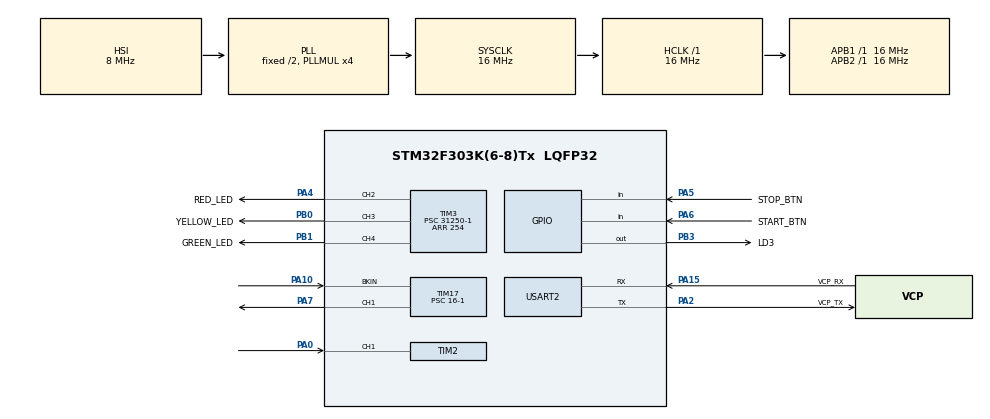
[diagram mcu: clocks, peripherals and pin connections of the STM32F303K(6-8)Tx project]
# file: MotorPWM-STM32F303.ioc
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Dma.Request0=USART2_TX
Dma.USART2_TX.0.Direction=DMA_MEMORY_TO_PERIPH
Dma.USART2_TX.0.Instance=DMA1_Channel7
Dma.USART2_TX.0.MemDataAlignment=DMA_MDATAALIGN_BYTE
Dma.USART2_TX.0.MemInc=DMA_MINC_ENABLE
Dma.USART2_TX.0.Mode=DMA_NORMAL
Dma.USART2_TX.0.PeriphDataAlignment=DMA_PDATAALIGN_BYTE
Dma.USART2_TX.0.PeriphInc=DMA_PINC_DISABLE
Dma.USART2_TX.0.Priority=DMA_PRIORITY_LOW
Mcu.Family=STM32F3
Mcu.Name=STM32F303K(6-8)Tx
Mcu.Package=LQFP32
Mcu.UserConstants=STATUS_LED_RED_CHANNEL,TIM_CHANNEL_2;RotationCounterTimer,$$_TIM15_IP_HANDLE_$$;StatusLedTimer,$$_TIM3_IP_HANDLE_$$;MotorTimer,$$_TIM17_IP_HANDLE_$$;MOTOR_CHANNEL,TIM_CHANNEL_1;STATUS_LED_GREEN_CHANNEL,TIM_CHANNEL_4;RotationCaptureTimer,$$_TIM2_IP_HANDLE_$$;STATUS_LED_YELLOW_CHANNEL,TIM_CHANNEL_3;ROTATION_CAPTURE_HALF_CHANNEL,TIM_CHANNEL_2;ROTATION_CAPTURE_TYPE,uint32_t;ROTATION_CAPTURE_FULL_CHANNEL,TIM_CHANNEL_1;ButtonTimer,$$_TIM6_IP_HANDLE_$$
NVIC.DMA1_Channel7_IRQn=true\:3\:0\:true\:false\:true\:false\:true\:true
NVIC.PriorityGroup=NVIC_PRIORITYGROUP_2
NVIC.TIM1_TRG_COM_TIM17_IRQn=true\:0\:0\:false\:false\:true\:true\:true\:true
NVIC.TIM6_DAC1_IRQn=true\:3\:1\:true\:false\:true\:true\:true\:true
NVIC.USART2_IRQn=true\:3\:0\:true\:false\:true\:true\:true\:true
PA0.Signal=S_TIM2_CH1_ETR
PA10.GPIO_PuPd=GPIO_PULLUP
PA10.Mode=Activate-Break-Input
PA10.Signal=TIM17_BKIN
PA13.GPIO_Label=SWDIO
PA13.Mode=Serial_Wire
PA13.Signal=SYS_JTMS-SWDIO
PA14.GPIO_Label=SWCLK
PA14.Mode=Serial_Wire
PA14.Signal=SYS_JTCK-SWCLK
PA15.GPIO_Label=VCP_RX
PA15.Mode=Asynchronous
PA15.Signal=USART2_RX
PA2.GPIO_Label=VCP_TX
PA2.Mode=Asynchronous
PA2.Signal=USART2_TX
PA4.GPIO_Label=RED_LED
PA4.Signal=S_TIM3_CH2
PA5.GPIO_Label=STOP_BTN
PA5.GPIO_PuPd=GPIO_PULLUP
PA5.Signal=GPIO_Input
PA6.GPIO_Label=START_BTN
PA6.GPIO_PuPd=GPIO_PULLUP
PA6.Signal=GPIO_Input
PA7.Signal=S_TIM17_CH1
PB0.GPIO_Label=YELLOW_LED
PB0.GPIO_ModeDefaultPP=GPIO_MODE_AF_OD
PB0.Signal=S_TIM3_CH3
PB1.GPIO_Label=GREEN_LED
PB1.GPIO_ModeDefaultPP=GPIO_MODE_AF_OD
PB1.Signal=S_TIM3_CH4
PB3.GPIO_Label=LD3
PB3.Signal=GPIO_Output
PF0\ /\ OSC_IN.GPIO_Label=MCO
PF0\ /\ OSC_IN.Signal=RCC_OSC_IN
ProjectManager.HeapSize=0x400
ProjectManager.StackSize=0x400
ProjectManager.TargetToolchain=STM32CubeIDE
RCC.AHBFreq_Value=16000000
RCC.APB1Freq_Value=16000000
RCC.APB1TimFreq_Value=16000000
RCC.APB2Freq_Value=16000000
RCC.APB2TimFreq_Value=16000000
RCC.CortexFreq_Value=16000000
RCC.HCLKFreq_Value=16000000
RCC.HSE_VALUE=8000000
RCC.HSI_VALUE=8000000
RCC.PLLMUL=RCC_PLL_MUL4
RCC.SYSCLKFreq_VALUE=16000000
RCC.SYSCLKSourceVirtual=RCC_SYSCLKSOURCE_PLLCLK
SH.S_TIM17_CH1.0=TIM17_CH1,PWM Generation1 CH1
SH.S_TIM2_CH1_ETR.0=TIM2_CH1,TriggerSource_TI1FP1
SH.S_TIM2_CH1_ETR.1=TIM2_CH1,Input_Capture1_from_TI1
SH.S_TIM3_CH2.0=TIM3_CH2,PWM Generation2 CH2
SH.S_TIM3_CH3.0=TIM3_CH3,PWM Generation3 CH3
SH.S_TIM3_CH4.0=TIM3_CH4,PWM Generation4 CH4
TIM17.BreakFilter=15
TIM17.Channel=TIM_CHANNEL_1
TIM17.OCIdleState_1=TIM_OCIDLESTATE_SET
TIM17.OCPolarity_1=TIM_OCPOLARITY_LOW
TIM17.OffStateIDLEMode=TIM_OSSI_ENABLE
TIM17.Period=20000-1
TIM17.Prescaler=16-1
TIM2.AutoReloadPreload=TIM_AUTORELOAD_PRELOAD_ENABLE
TIM2.Channel-Input_Capture1_from_TI1=TIM_CHANNEL_1
TIM2.Channel-Input_Capture2_from_TI1_63=TIM_CHANNEL_2
TIM2.ICPolarity_CH2=TIM_INPUTCHANNELPOLARITY_FALLING
TIM2.Prescaler=16-1
TIM3.Channel-PWM\ Generation2\ CH2=TIM_CHANNEL_2
TIM3.Channel-PWM\ Generation3\ CH3=TIM_CHANNEL_3
TIM3.Channel-PWM\ Generation4\ CH4=TIM_CHANNEL_4
TIM3.OCPolarity_2=TIM_OCPOLARITY_LOW
TIM3.OCPolarity_3=TIM_OCPOLARITY_LOW
TIM3.OCPolarity_4=TIM_OCPOLARITY_LOW
TIM3.Period=254
TIM3.Prescaler=31250-1
TIM6.Period=25-1
TIM6.Prescaler=1600-1
USART2.VirtualMode-Asynchronous=VM_ASYNC
VP_TIM15_VS_ClockSourceITR.Mode=TriggerSource_ITR0
VP_TIM15_VS_ControllerModeClock.Mode=Clock Mode
VP_TIM17_VS_ClockSourceINT.Mode=Enable_Timer
VP_TIM2_VS_ClockSourceINT.Mode=Internal
VP_TIM2_VS_ControllerModeReset.Mode=Reset Mode
VP_TIM2_VS_indirect_ch1.Mode=Input_Capture2_from_TI1_63
VP_TIM3_VS_ClockSourceINT.Mode=Internal
VP_TIM6_VS_ClockSourceINT.Mode=Enable_Timer
board=NUCLEO-F303K8

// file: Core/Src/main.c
/* USER CODE BEGIN Header */
/**
  ******************************************************************************
  * @file           : main.c
  * @brief          : Main program body
  ******************************************************************************
  * @attention
  *
  * Copyright (c) 2023 Joris Dobbelsteen.
  * All rights reserved.
  *
  ******************************************************************************
  */
/* USER CODE END Header */
#include "main.h"

/* USER CODE BEGIN Includes */
#include <stdio.h>
#include "button.h"
#include "status_led.h"
#include "motor_control.h"
#include "rotation_sensor.h"
#include "PID.h"
/* USER CODE END Includes */

/* USER CODE BEGIN PTD */
typedef enum state_t {
  /* Note: FATAL_ERROR is handled by program counter, stuck in ErrorHandler() */
  /* STATE               PWM        LED               NEXT_STATE                             */
  STATE_ERROR,        // off        ERROR             btn_stop                  -> STOPPED
  STATE_INIT,         // off        INIT              both_button && powercycle -> CALIBRATE
                      //                              else                      -> STOPPED
  STATE_CALIBRATION,  // on (max)   TROTTLE_CALIB     !both_button              -> STOPPED
                      //                              break                     -> ERROR
  STATE_STOP,         // on (min)   STOPPING /        start_pressed             -> START
                      //            STOPPED           break                     -> ERROR
  STATE_START         // on (PID)   STARTING /        stop_pressed              -> STOP
                      //            STARTED           out_of_limits             -> ERROR
                      //                              break                     -> ERROR
} state_t;
/* USER CODE END PTD */

/* USER CODE BEGIN PD */
#define PULSES_PER_ROTATION 12
#define ROTATIONS_PER_SEC 15
#define RAMP_PULSE_PER_SEC (PULSES_PER_ROTATION * 1 / 4)
#define OVERSPEED_PULSES_PER_SEC (10 * PULSES_PER_ROTATION)
#define UNDERSPEED_PULSES_PER_SEC (10 * PULSES_PER_ROTATION)
#define STABLE_PULSES_PER_SEC (PULSES_PER_ROTATION / 2)
#define PID_PRESCALER 4

/* USER CODE END PD */

TIM_HandleTypeDef htim2;
TIM_HandleTypeDef htim3;
TIM_HandleTypeDef htim6;
TIM_HandleTypeDef htim15;
TIM_HandleTypeDef htim17;

UART_HandleTypeDef huart2;
DMA_HandleTypeDef hdma_usart2_tx;

/* USER CODE BEGIN PV */
static state_t global_state;
static int init_allow_calibration;
static uint32_t init_enter_tick;
static PIDController control_pid;
static volatile unsigned int control_pid_tick_counter;
static unsigned int control_pid_last_tick_counter;
static volatile int control_setpoint_millipulsesec;
static volatile int control_error;
static volatile int control_stable;
static int control_last_pulse_count;
static int control_setpoint_internal_millipulsesec;
static int control_prescaler_pid;
static int start_stop_stable;
/* USER CODE END PV */

void SystemClock_Config(void);
static void MX_GPIO_Init(void);
static void MX_DMA_Init(void);
static void MX_TIM17_Init(void);
static void MX_USART2_UART_Init(void);
static void MX_TIM2_Init(void);
static void MX_TIM3_Init(void);
static void MX_TIM15_Init(void);
static void MX_TIM6_Init(void);

/* USER CODE BEGIN 0 */

static void PID_init(void) {
  control_pid.Kp = 0.060f;
  control_pid.Ki = 0.006f;
  control_pid.Kd = 0.003f;
  control_pid.tau = 0.4f;              // derivative filter time constant
  control_pid.limMin = 0.0f;
  control_pid.limMax = 0.4f;           // cap of output power
  control_pid.limMinInt = -0.1f;
  control_pid.limMaxInt = 0.4f;
  control_pid.T = 0.02f * PID_PRESCALER;

  PIDController_Init(&control_pid);

  control_error = 0;
  control_stable = 0;
  control_setpoint_millipulsesec = 0;
  control_setpoint_internal_millipulsesec = 0;
}

static void PID_tick(void) {
  control_pid_tick_counter++;

  // Load from volatile value
  int final_setpoint = control_setpoint_millipulsesec;

  // Slowly ramp to final setpoint
  int setpoint_e = final_setpoint - control_setpoint_internal_millipulsesec;
  int increment = RAMP_PULSE_PER_SEC * 1000 * control_pid.T;
  int decrement = -5 * RAMP_PULSE_PER_SEC * 1000 * control_pid.T;
  if (setpoint_e > increment)
    setpoint_e = increment;
  else if (setpoint_e < decrement)
    setpoint_e = decrement;
  control_setpoint_internal_millipulsesec += setpoint_e;

  // Acquire current speed
  int millipulses_per_sec = rotation_sensor_get_millipulses_per_sec();
  // Derive from measured ticks
  //
  // Unless the PULSES_PER_ROTATION or measurement period is large enough, this is rather inaccurate...
  // For PULSES_PER_ROTATION 12:
  //   15 rpm -> 180 ticks / sec = 3.6 ticks / 20 ms     -> 3 ~ 4 ticks gives 12.5 ~ 16.6 rpm
  //                             = 14,4 ticks / 80 ms   -> 14 ~ 15 ticks gives 14.6 ~ 16.6 rpm
  // To calculate
  //   1 tick / t ms / x ticks/rotation = 0.1 rps ->
  //   1 / t / 0.1 = x                            -> x = 10 / t
  //   * 20 ms --> 500 ticks / rotation
  //   * 80 ms --> 125 ticks / rotation
//  uint_rotation_t pc = rotation_sensor_get_counter();
//  uint_rotation_t delta_pulse = pc - control_last_pulse_count;
//  control_last_pulse_count = pc;
//  int millipulses_per_sec_c = 1000 * pc / control_pid.T;

  // Safety/Sanity check
  if (millipulses_per_sec > control_setpoint_internal_millipulsesec + OVERSPEED_PULSES_PER_SEC * 1000
      || millipulses_per_sec + UNDERSPEED_PULSES_PER_SEC * 1000 < control_setpoint_internal_millipulsesec) {
    control_error = 1;
    motor_control_set_pulse(MOTOR_PWM_MIN);
    return;
  }

  // PID loop
  float out = PIDController_Update(&control_pid,
                                   control_setpoint_internal_millipulsesec / (1000.0f * PULSES_PER_ROTATION),
                                   millipulses_per_sec / (1000.0f * PULSES_PER_ROTATION));

  // Set output
  motor_control_set_pulse(MOTOR_PWM_MIN + (int)(out * (MOTOR_PWM_MAX - MOTOR_PWM_MIN)));

  // Determine if loop is stable
  int final_error = millipulses_per_sec - final_setpoint;
  control_stable = final_error > -STABLE_PULSES_PER_SEC * 1000
          && final_error < STABLE_PULSES_PER_SEC * 1000;
}

static void PID_print_stats(void) {
  unsigned int c = control_pid_tick_counter;
  if (c == control_pid_last_tick_counter)
    return;
  control_pid_last_tick_counter = c;

  printf("%03d  m %2.3f e %2.3f o %1.4f   i %1.4f d %1.4f\n",
         c % 1000,
         control_pid.prevMeasurement,
         control_pid.prevError,
         control_pid.out,
         control_pid.integrator,
         control_pid.differentiator);
}

static void enter_state(state_t state) {
  switch (state) {
    case STATE_ERROR:
      status_led_set(STATUS_LED_MODE_ERROR);
      puts("ERROR");
      motor_control_stop();
      break;
    case STATE_INIT:
      status_led_set(STATUS_LED_MODE_INIT);
      puts("INIT");
      init_enter_tick = HAL_GetTick();
      break;
    case STATE_CALIBRATION:
      status_led_set(STATUS_LED_MODE_THROTTLE_CALIB);
      puts("CALIBRATE");
      motor_control_start(MOTOR_PWM_MAX); // Set to maximum speed
      break;
    case STATE_STOP:
      status_led_set(STATUS_LED_MODE_STOPPING);
      puts("STOP");
      start_stop_stable = 0;
      motor_control_start(MOTOR_PWM_MIN); // Set to minimum speed
      break;
    case STATE_START:
      status_led_set(STATUS_LED_MODE_STARTING);
      puts("START");
      start_stop_stable = 0;
      PID_init();
      control_setpoint_millipulsesec = ROTATIONS_PER_SEC * PULSES_PER_ROTATION * 1000;
      control_last_pulse_count = rotation_sensor_get_counter();
      motor_control_start_update_interrupt();
      break;
    // NOTE: Rely on compiler to give warning when this is incomplete
  }
}

static void exit_state(state_t state) {
  switch (state) {
    case STATE_ERROR:
      rotation_sensor_reset();
      break;
    case STATE_INIT:
      init_allow_calibration = 0;
      buttons_reset(); // ignore any pending presses
      break;
    case STATE_CALIBRATION:
      motor_control_set_pulse(MOTOR_PWM_MIN);
      buttons_reset(); // ignore any pending presses
      break;
    case STATE_STOP:
      break;
    case STATE_START:
      motor_control_stop_update_interrupt();
      break;
    // Rely on compiler to give warning when this is incomplete
  }
}

static void set_state(state_t next_state) {
  state_t previous_state = global_state;
  if (next_state != previous_state) {
    // Exit state is not aware which exit is performed
    exit_state(previous_state);
    // In enter_state, we can use "global_state" to get the next state
    enter_state(next_state);
    global_state = next_state;
  }
}

void buttons_start_pressed(void) {
  switch (global_state) {
    case STATE_STOP:
      set_state(STATE_START);
      break;
    default:
      break;
  }
}

void buttons_stop_pressed(void) {
  switch (global_state) {
    case STATE_ERROR:
      set_state(STATE_STOP);
      break;
    case STATE_START:
      set_state(STATE_STOP);
      break;
    default:
      break;
  }
}

void HAL_TIM_PeriodElapsedCallback(TIM_HandleTypeDef *htim)
{
  if (htim == &MotorTimer) {
    if (global_state == STATE_START) { // sanity check if we really should run the PWM
      if (control_error != 0) {
        motor_control_set_pulse(MOTOR_PWM_MIN);
        control_error++;
      } else {
        if (++control_prescaler_pid >= PID_PRESCALER) {
          PID_tick();
        }
      }
    } else {
      Error_Handler();
    }
  } /*else if (htim == &ButtonTimer) {
    IT_buttons_check();
  } */
}

void HAL_TIMEx_BreakCallback(TIM_HandleTypeDef *htim) {
  if (htim == &MotorTimer) {
    IT_motor_control_break();
  }
}

static void loop(void) {
  // Check motor state...
  if (motor_control_get_state() == MOTOR_CONTROL_BREAK) {
    puts("Motor BREAK detected");
    set_state(STATE_ERROR);
  }

  buttons_check();

  switch (global_state) {
    case STATE_INIT:
      // Ticks are in milliseconds
      if (HAL_GetTick() - init_enter_tick > 2000) {
        set_state(STATE_STOP);
      } else if (init_allow_calibration && buttons_both_pressed()) {
        set_state(STATE_CALIBRATION);
      }
      break;
    case STATE_CALIBRATION:
      if (!buttons_both_pressed()) {
        set_state(STATE_STOP);
      }
      break;
    case STATE_STOP: {
      const int stable = rotation_sensor_get_millipulses_per_sec() <= 333; // no pulse for 3 seconds
      if (stable != start_stop_stable) {
        status_led_set(stable ? STATUS_LED_MODE_STOPPED : STATUS_LED_MODE_STOPPING);
        start_stop_stable = stable;
      }
    } break;
    case STATE_START: {
      const int stable = control_stable;
      if (control_error > 5) { // give several pulses to allow setting PWM to minimum
        puts("Control ERROR detected");
        set_state(STATE_ERROR);
      } else  if (stable != start_stop_stable) {
        status_led_set(stable ? STATUS_LED_MODE_STARTED : STATUS_LED_MODE_STARTING);
        start_stop_stable = stable;
      }
      PID_print_stats();
    } break;
    default:
      break;
  }
}

/* USER CODE END 0 */

int main(void)
{

  /* MCU Configuration--------------------------------------------------------*/

  /* Reset of all peripherals, Initializes the Flash interface and the Systick. */
  HAL_Init();

  /* USER CODE BEGIN Init */

  HAL_SetTickFreq(HAL_TICK_FREQ_100HZ);

  /* USER CODE END Init */

  /* Configure the system clock */
  SystemClock_Config();

  /* USER CODE BEGIN SysInit */

  init_allow_calibration =
    !__HAL_RCC_GET_FLAG(RCC_FLAG_OBLRST) && // Option Byte Load reset
    // normal start has PIN reset !__HAL_RCC_GET_FLAG(RCC_FLAG_PINRST) && // Pin reset
    !__HAL_RCC_GET_FLAG(RCC_FLAG_PORRST) && // POR/PDR reset.
    !__HAL_RCC_GET_FLAG(RCC_FLAG_SFTRST) &&  // Software reset.
    !__HAL_RCC_GET_FLAG(RCC_FLAG_IWDGRST) && // Independent Watchdog reset.
    !__HAL_RCC_GET_FLAG(RCC_FLAG_WWDGRST) && // Window Watchdog reset.
    !__HAL_RCC_GET_FLAG(RCC_FLAG_LPWRRST); // Low Power Reset
  __HAL_RCC_CLEAR_RESET_FLAGS();

  /* USER CODE END SysInit */

  /* Initialize all configured peripherals */
  MX_GPIO_Init();
  MX_DMA_Init();
  MX_TIM17_Init();
  MX_USART2_UART_Init();
  MX_TIM2_Init();
  MX_TIM3_Init();
  MX_TIM15_Init();
  MX_TIM6_Init();
  /* USER CODE BEGIN 2 */

  PID_init();

  buttons_init();
  status_led_init();
  motor_control_init();
  rotation_sensor_init();

  /* USER CODE END 2 */

  /* Infinite loop */
  /* USER CODE BEGIN WHILE */

  global_state = STATE_INIT;
  enter_state(global_state);

  while (1)
  {
    loop();
    /* USER CODE END WHILE */

    /* USER CODE BEGIN 3 */

    HAL_GPIO_TogglePin(LD3_GPIO_Port, LD3_Pin);
    __WFE();
  }
  /* USER CODE END 3 */
}

void SystemClock_Config(void)
{
  RCC_OscInitTypeDef RCC_OscInitStruct = {0};
  RCC_ClkInitTypeDef RCC_ClkInitStruct = {0};

  /** Initializes the RCC Oscillators according to the specified parameters
  * in the RCC_OscInitTypeDef structure.
  */
  RCC_OscInitStruct.OscillatorType = RCC_OSCILLATORTYPE_HSI;
  RCC_OscInitStruct.HSIState = RCC_HSI_ON;
  RCC_OscInitStruct.HSICalibrationValue = RCC_HSICALIBRATION_DEFAULT;
  RCC_OscInitStruct.PLL.PLLState = RCC_PLL_ON;
  RCC_OscInitStruct.PLL.PLLSource = RCC_PLLSOURCE_HSI;
  RCC_OscInitStruct.PLL.PLLMUL = RCC_PLL_MUL4;
  if (HAL_RCC_OscConfig(&RCC_OscInitStruct) != HAL_OK)
  {
    Error_Handler();
  }

  /** Initializes the CPU, AHB and APB buses clocks
  */
  RCC_ClkInitStruct.ClockType = RCC_CLOCKTYPE_HCLK|RCC_CLOCKTYPE_SYSCLK
                              |RCC_CLOCKTYPE_PCLK1|RCC_CLOCKTYPE_PCLK2;
  RCC_ClkInitStruct.SYSCLKSource = RCC_SYSCLKSOURCE_PLLCLK;
  RCC_ClkInitStruct.AHBCLKDivider = RCC_SYSCLK_DIV1;
  RCC_ClkInitStruct.APB1CLKDivider = RCC_HCLK_DIV1;
  RCC_ClkInitStruct.APB2CLKDivider = RCC_HCLK_DIV1;

  if (HAL_RCC_ClockConfig(&RCC_ClkInitStruct, FLASH_LATENCY_0) != HAL_OK)
  {
    Error_Handler();
  }
}

static void MX_TIM2_Init(void)
{

  TIM_ClockConfigTypeDef sClockSourceConfig = {0};
  TIM_SlaveConfigTypeDef sSlaveConfig = {0};
  TIM_MasterConfigTypeDef sMasterConfig = {0};
  TIM_IC_InitTypeDef sConfigIC = {0};

  htim2.Instance = TIM2;
  htim2.Init.Prescaler = 16-1;
  htim2.Init.CounterMode = TIM_COUNTERMODE_UP;
  htim2.Init.Period = 4294967295;
  htim2.Init.ClockDivision = TIM_CLOCKDIVISION_DIV1;
  htim2.Init.AutoReloadPreload = TIM_AUTORELOAD_PRELOAD_ENABLE;
  if (HAL_TIM_Base_Init(&htim2) != HAL_OK)
  {
    Error_Handler();
  }
  sClockSourceConfig.ClockSource = TIM_CLOCKSOURCE_INTERNAL;
  if (HAL_TIM_ConfigClockSource(&htim2, &sClockSourceConfig) != HAL_OK)
  {
    Error_Handler();
  }
  if (HAL_TIM_IC_Init(&htim2) != HAL_OK)
  {
    Error_Handler();
  }
  sSlaveConfig.SlaveMode = TIM_SLAVEMODE_RESET;
  sSlaveConfig.InputTrigger = TIM_TS_TI1FP1;
  sSlaveConfig.TriggerPolarity = TIM_INPUTCHANNELPOLARITY_RISING;
  sSlaveConfig.TriggerFilter = 0;
  if (HAL_TIM_SlaveConfigSynchro(&htim2, &sSlaveConfig) != HAL_OK)
  {
    Error_Handler();
  }
  sMasterConfig.MasterOutputTrigger = TIM_TRGO_RESET;
  sMasterConfig.MasterSlaveMode = TIM_MASTERSLAVEMODE_DISABLE;
  if (HAL_TIMEx_MasterConfigSynchronization(&htim2, &sMasterConfig) != HAL_OK)
  {
    Error_Handler();
  }
  sConfigIC.ICPolarity = TIM_INPUTCHANNELPOLARITY_RISING;
  sConfigIC.ICSelection = TIM_ICSELECTION_DIRECTTI;
  sConfigIC.ICPrescaler = TIM_ICPSC_DIV1;
  sConfigIC.ICFilter = 0;
  if (HAL_TIM_IC_ConfigChannel(&htim2, &sConfigIC, TIM_CHANNEL_1) != HAL_OK)
  {
    Error_Handler();
  }
  sConfigIC.ICPolarity = TIM_INPUTCHANNELPOLARITY_FALLING;
  sConfigIC.ICSelection = TIM_ICSELECTION_INDIRECTTI;
  if (HAL_TIM_IC_ConfigChannel(&htim2, &sConfigIC, TIM_CHANNEL_2) != HAL_OK)
  {
    Error_Handler();
  }

}

static void MX_TIM3_Init(void)
{

  TIM_ClockConfigTypeDef sClockSourceConfig = {0};
  TIM_MasterConfigTypeDef sMasterConfig = {0};
  TIM_OC_InitTypeDef sConfigOC = {0};

  htim3.Instance = TIM3;
  htim3.Init.Prescaler = 31250-1;
  htim3.Init.CounterMode = TIM_COUNTERMODE_UP;
  htim3.Init.Period = 254;
  htim3.Init.ClockDivision = TIM_CLOCKDIVISION_DIV1;
  htim3.Init.AutoReloadPreload = TIM_AUTORELOAD_PRELOAD_DISABLE;
  if (HAL_TIM_Base_Init(&htim3) != HAL_OK)
  {
    Error_Handler();
  }
  sClockSourceConfig.ClockSource = TIM_CLOCKSOURCE_INTERNAL;
  if (HAL_TIM_ConfigClockSource(&htim3, &sClockSourceConfig) != HAL_OK)
  {
    Error_Handler();
  }
  if (HAL_TIM_PWM_Init(&htim3) != HAL_OK)
  {
    Error_Handler();
  }
  sMasterConfig.MasterOutputTrigger = TIM_TRGO_RESET;
  sMasterConfig.MasterSlaveMode = TIM_MASTERSLAVEMODE_DISABLE;
  if (HAL_TIMEx_MasterConfigSynchronization(&htim3, &sMasterConfig) != HAL_OK)
  {
    Error_Handler();
  }
  sConfigOC.OCMode = TIM_OCMODE_PWM1;
  sConfigOC.Pulse = 0;
  sConfigOC.OCPolarity = TIM_OCPOLARITY_LOW;
  sConfigOC.OCFastMode = TIM_OCFAST_DISABLE;
  if (HAL_TIM_PWM_ConfigChannel(&htim3, &sConfigOC, TIM_CHANNEL_2) != HAL_OK)
  {
    Error_Handler();
  }
  if (HAL_TIM_PWM_ConfigChannel(&htim3, &sConfigOC, TIM_CHANNEL_3) != HAL_OK)
  {
    Error_Handler();
  }
  if (HAL_TIM_PWM_ConfigChannel(&htim3, &sConfigOC, TIM_CHANNEL_4) != HAL_OK)
  {
    Error_Handler();
  }
  HAL_TIM_MspPostInit(&htim3);

}

static void MX_TIM6_Init(void)
{

  TIM_MasterConfigTypeDef sMasterConfig = {0};

  htim6.Instance = TIM6;
  htim6.Init.Prescaler = 1600-1;
  htim6.Init.CounterMode = TIM_COUNTERMODE_UP;
  htim6.Init.Period = 25-1;
  htim6.Init.AutoReloadPreload = TIM_AUTORELOAD_PRELOAD_DISABLE;
  if (HAL_TIM_Base_Init(&htim6) != HAL_OK)
  {
    Error_Handler();
  }
  sMasterConfig.MasterOutputTrigger = TIM_TRGO_RESET;
  sMasterConfig.MasterSlaveMode = TIM_MASTERSLAVEMODE_DISABLE;
  if (HAL_TIMEx_MasterConfigSynchronization(&htim6, &sMasterConfig) != HAL_OK)
  {
    Error_Handler();
  }

}

static void MX_TIM15_Init(void)
{

  TIM_SlaveConfigTypeDef sSlaveConfig = {0};
  TIM_MasterConfigTypeDef sMasterConfig = {0};

  htim15.Instance = TIM15;
  htim15.Init.Prescaler = 0;
  htim15.Init.CounterMode = TIM_COUNTERMODE_UP;
  htim15.Init.Period = 65535;
  htim15.Init.ClockDivision = TIM_CLOCKDIVISION_DIV1;
  htim15.Init.RepetitionCounter = 0;
  htim15.Init.AutoReloadPreload = TIM_AUTORELOAD_PRELOAD_DISABLE;
  if (HAL_TIM_Base_Init(&htim15) != HAL_OK)
  {
    Error_Handler();
  }
  sSlaveConfig.SlaveMode = TIM_SLAVEMODE_EXTERNAL1;
  sSlaveConfig.InputTrigger = TIM_TS_ITR0;
  if (HAL_TIM_SlaveConfigSynchro(&htim15, &sSlaveConfig) != HAL_OK)
  {
    Error_Handler();
  }
  sMasterConfig.MasterOutputTrigger = TIM_TRGO_RESET;
  sMasterConfig.MasterSlaveMode = TIM_MASTERSLAVEMODE_DISABLE;
  if (HAL_TIMEx_MasterConfigSynchronization(&htim15, &sMasterConfig) != HAL_OK)
  {
    Error_Handler();
  }

}

static void MX_TIM17_Init(void)
{

  TIM_OC_InitTypeDef sConfigOC = {0};
  TIM_BreakDeadTimeConfigTypeDef sBreakDeadTimeConfig = {0};

  htim17.Instance = TIM17;
  htim17.Init.Prescaler = 16-1;
  htim17.Init.CounterMode = TIM_COUNTERMODE_UP;
  htim17.Init.Period = 20000-1;
  htim17.Init.ClockDivision = TIM_CLOCKDIVISION_DIV1;
  htim17.Init.RepetitionCounter = 0;
  htim17.Init.AutoReloadPreload = TIM_AUTORELOAD_PRELOAD_DISABLE;
  if (HAL_TIM_Base_Init(&htim17) != HAL_OK)
  {
    Error_Handler();
  }
  if (HAL_TIM_PWM_Init(&htim17) != HAL_OK)
  {
    Error_Handler();
  }
  sConfigOC.OCMode = TIM_OCMODE_PWM1;
  sConfigOC.Pulse = 0;
  sConfigOC.OCPolarity = TIM_OCPOLARITY_LOW;
  sConfigOC.OCNPolarity = TIM_OCNPOLARITY_HIGH;
  sConfigOC.OCFastMode = TIM_OCFAST_DISABLE;
  sConfigOC.OCIdleState = TIM_OCIDLESTATE_SET;
  sConfigOC.OCNIdleState = TIM_OCNIDLESTATE_RESET;
  if (HAL_TIM_PWM_ConfigChannel(&htim17, &sConfigOC, TIM_CHANNEL_1) != HAL_OK)
  {
    Error_Handler();
  }
  sBreakDeadTimeConfig.OffStateRunMode = TIM_OSSR_DISABLE;
  sBreakDeadTimeConfig.OffStateIDLEMode = TIM_OSSI_ENABLE;
  sBreakDeadTimeConfig.LockLevel = TIM_LOCKLEVEL_OFF;
  sBreakDeadTimeConfig.DeadTime = 0;
  sBreakDeadTimeConfig.BreakState = TIM_BREAK_ENABLE;
  sBreakDeadTimeConfig.BreakPolarity = TIM_BREAKPOLARITY_HIGH;
  sBreakDeadTimeConfig.BreakFilter = 15;
  sBreakDeadTimeConfig.AutomaticOutput = TIM_AUTOMATICOUTPUT_DISABLE;
  if (HAL_TIMEx_ConfigBreakDeadTime(&htim17, &sBreakDeadTimeConfig) != HAL_OK)
  {
    Error_Handler();
  }
  HAL_TIM_MspPostInit(&htim17);

}

static void MX_USART2_UART_Init(void)
{

  huart2.Instance = USART2;
  huart2.Init.BaudRate = 38400;
  huart2.Init.WordLength = UART_WORDLENGTH_8B;
  huart2.Init.StopBits = UART_STOPBITS_1;
  huart2.Init.Parity = UART_PARITY_NONE;
  huart2.Init.Mode = UART_MODE_TX_RX;
  huart2.Init.HwFlowCtl = UART_HWCONTROL_NONE;
  huart2.Init.OverSampling = UART_OVERSAMPLING_16;
  huart2.Init.OneBitSampling = UART_ONE_BIT_SAMPLE_DISABLE;
  huart2.AdvancedInit.AdvFeatureInit = UART_ADVFEATURE_NO_INIT;
  if (HAL_UART_Init(&huart2) != HAL_OK)
  {
    Error_Handler();
  }

}

static void MX_DMA_Init(void)
{

  /* DMA controller clock enable */
  __HAL_RCC_DMA1_CLK_ENABLE();

  /* DMA interrupt init */
  /* DMA1_Channel7_IRQn interrupt configuration */
  HAL_NVIC_SetPriority(DMA1_Channel7_IRQn, 3, 0);
  HAL_NVIC_EnableIRQ(DMA1_Channel7_IRQn);

}

static void MX_GPIO_Init(void)
{
  GPIO_InitTypeDef GPIO_InitStruct = {0};

  /* GPIO Ports Clock Enable */
  __HAL_RCC_GPIOF_CLK_ENABLE();
  __HAL_RCC_GPIOA_CLK_ENABLE();
  __HAL_RCC_GPIOB_CLK_ENABLE();

  /*Configure GPIO pin Output Level */
  HAL_GPIO_WritePin(LD3_GPIO_Port, LD3_Pin, GPIO_PIN_RESET);

  /*Configure GPIO pins : STOP_BTN_Pin START_BTN_Pin */
  GPIO_InitStruct.Pin = STOP_BTN_Pin|START_BTN_Pin;
  GPIO_InitStruct.Mode = GPIO_MODE_INPUT;
  GPIO_InitStruct.Pull = GPIO_PULLUP;
  HAL_GPIO_Init(GPIOA, &GPIO_InitStruct);

  /*Configure GPIO pin : LD3_Pin */
  GPIO_InitStruct.Pin = LD3_Pin;
  GPIO_InitStruct.Mode = GPIO_MODE_OUTPUT_PP;
  GPIO_InitStruct.Pull = GPIO_NOPULL;
  GPIO_InitStruct.Speed = GPIO_SPEED_FREQ_LOW;
  HAL_GPIO_Init(LD3_GPIO_Port, &GPIO_InitStruct);

}

void Error_Handler(void)
{
  /* USER CODE BEGIN Error_Handler_Debug */
  /* User can add his own implementation to report the HAL error return state */
  __disable_irq();

  // Force the motor control off on any error.
  motor_control_force_break();

  // Add status led
  status_led_set(STATUS_LED_MODE_FATAL);

  // Power cycle required, though we could trigger it ourselves here
  // TODO: Implement via pressing and releasing the stop button (needs debounce logic)
  while (1)
  {
  }
  /* USER CODE END Error_Handler_Debug */
}

#ifdef  USE_FULL_ASSERT
/**
  * @brief  Reports the name of the source file and the source line number
  *         where the assert_param error has occurred.
  * @param  file: pointer to the source file name
  * @param  line: assert_param error line source number
  * @retval None
  */
void assert_failed(uint8_t *file, uint32_t line)
{
  /* USER CODE BEGIN 6 */
  /* User can add his own implementation to report the file name and line number,
     ex: printf("Wrong parameters value: file %s on line %d\r\n", file, line) */
  (void)file;
  (void)line;
  Error_Handler();
  /* USER CODE END 6 */
}
#endif /* USE_FULL_ASSERT */
